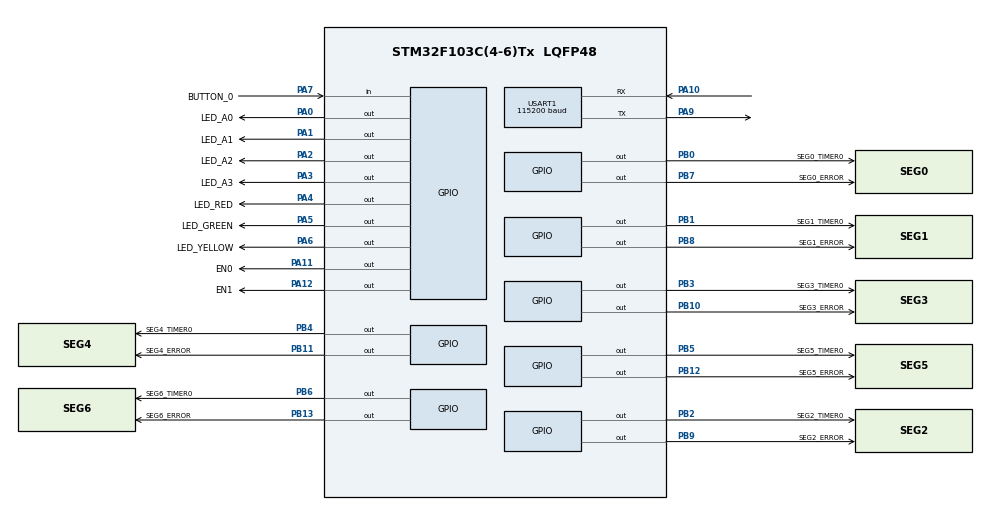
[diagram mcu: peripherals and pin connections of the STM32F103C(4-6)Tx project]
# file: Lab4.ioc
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Mcu.Family=STM32F1
Mcu.Name=STM32F103C(4-6)Tx
Mcu.Package=LQFP48
NVIC.PriorityGroup=NVIC_PRIORITYGROUP_4
NVIC.TIM2_IRQn=true\:0\:0\:false\:false\:true\:true\:true\:true
PA0-WKUP.GPIO_Label=LED_A0
PA0-WKUP.Signal=GPIO_Output
PA1.GPIO_Label=LED_A1
PA1.Signal=GPIO_Output
PA10.Mode=Asynchronous
PA10.Signal=USART1_RX
PA11.GPIO_Label=EN0
PA11.Signal=GPIO_Output
PA12.GPIO_Label=EN1
PA12.Signal=GPIO_Output
PA2.GPIO_Label=LED_A2
PA2.Signal=GPIO_Output
PA3.GPIO_Label=LED_A3
PA3.Signal=GPIO_Output
PA4.GPIO_Label=LED_RED
PA4.Signal=GPIO_Output
PA5.GPIO_Label=LED_GREEN
PA5.Signal=GPIO_Output
PA6.GPIO_Label=LED_YELLOW
PA6.Signal=GPIO_Output
PA7.GPIO_Label=BUTTON_0
PA7.GPIO_PuPd=GPIO_PULLUP
PA7.Signal=GPIO_Input
PA9.Mode=Asynchronous
PA9.Signal=USART1_TX
PB0.GPIO_Label=SEG0_TIMER0
PB0.Signal=GPIO_Output
PB1.GPIO_Label=SEG1_TIMER0
PB1.Signal=GPIO_Output
PB10.GPIO_Label=SEG3_ERROR
PB10.Signal=GPIO_Output
PB11.GPIO_Label=SEG4_ERROR
PB11.Signal=GPIO_Output
PB12.GPIO_Label=SEG5_ERROR
PB12.Signal=GPIO_Output
PB13.GPIO_Label=SEG6_ERROR
PB13.Signal=GPIO_Output
PB2.GPIO_Label=SEG2_TIMER0
PB2.Signal=GPIO_Output
PB3.GPIO_Label=SEG3_TIMER0
PB3.Signal=GPIO_Output
PB4.GPIO_Label=SEG4_TIMER0
PB4.Signal=GPIO_Output
PB5.GPIO_Label=SEG5_TIMER0
PB5.Signal=GPIO_Output
PB6.GPIO_Label=SEG6_TIMER0
PB6.Signal=GPIO_Output
PB7.GPIO_Label=SEG0_ERROR
PB7.Signal=GPIO_Output
PB8.GPIO_Label=SEG1_ERROR
PB8.Signal=GPIO_Output
PB9.GPIO_Label=SEG2_ERROR
PB9.Signal=GPIO_Output
ProjectManager.HeapSize=0x200
ProjectManager.StackSize=0x400
ProjectManager.TargetToolchain=STM32CubeIDE
RCC.APB1Freq_Value=8000000
RCC.APB2Freq_Value=8000000
TIM2.Period=9
TIM2.Prescaler=7999
USART1.BaudRate=115200
USART1.VirtualMode=VM_ASYNC
VP_SYS_VS_ND.Mode=No_Debug
VP_TIM2_VS_ClockSourceINT.Mode=Internal
board=custom

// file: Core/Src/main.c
/* USER CODE BEGIN Header */
/**
  ******************************************************************************
  * @file           : main.c
  * @brief          : Main program body
  ******************************************************************************
  * @attention
  *
  * Copyright (c) 2025 STMicroelectronics.
  * All rights reserved.
  *
  * This software is licensed under terms that can be found in the LICENSE file
  * in the root directory of this software component.
  * If no LICENSE file comes with this software, it is provided AS-IS.
  *
  ******************************************************************************
  */
/* USER CODE END Header */
#include "main.h"

/* USER CODE BEGIN Includes */
#include "sched.h"
#include "task.h"
#include "timer.h"
#include "input_reading.h"
#include "input_processing.h"
//#include "stm32f1xx_hal_iwdg.h"
//#define GET_TASK_TIME
//#define GET_CURRENT_TIME
/* USER CODE END Includes */

TIM_HandleTypeDef htim2;

UART_HandleTypeDef huart1;

void SystemClock_Config(void);
static void MX_GPIO_Init(void);
static void MX_TIM2_Init(void);
static void MX_USART1_UART_Init(void);

/* USER CODE BEGIN 0 */
UART_HandleTypeDef huart1;
int _write(int file, char *ptr, int len)
{
  /* Gửi dữ liệu qua UART1 */
  // HAL_MAX_DELAY nghĩa là hàm sẽ chờ cho đến khi gửi xong
  HAL_UART_Transmit(&huart1, (uint8_t *)ptr, len, HAL_MAX_DELAY);
  return len;
}
/* USER CODE END 0 */

int main(void)
{

  /* MCU Configuration--------------------------------------------------------*/

  /* Reset of all peripherals, Initializes the Flash interface and the Systick. */
  HAL_Init();

  /* Configure the system clock */
  SystemClock_Config();

  /* Initialize all configured peripherals */
  MX_GPIO_Init();
  MX_TIM2_Init();
  MX_USART1_UART_Init();
  /* USER CODE BEGIN 2 */
  /*Configure GPIO pin Output Level */
    HAL_GPIO_WritePin(GPIOA, LED_A0_Pin|LED_A1_Pin|LED_A2_Pin|LED_A3_Pin
                            |LED_RED_Pin|LED_GREEN_Pin|LED_YELLOW_Pin|EN0_Pin|EN1_Pin, GPIO_PIN_SET);

    /*Configure GPIO pin Output Level */
    HAL_GPIO_WritePin(GPIOB, SEG0_TIMER0_Pin|SEG1_TIMER0_Pin|SEG2_TIMER0_Pin|SEG3_ERROR_Pin
                            |SEG4_ERROR_Pin|SEG5_ERROR_Pin|SEG6_ERROR_Pin|SEG3_TIMER0_Pin
                            |SEG4_TIMER0_Pin|SEG5_TIMER0_Pin|SEG6_TIMER0_Pin|SEG0_ERROR_Pin
                            |SEG1_ERROR_Pin|SEG2_ERROR_Pin, GPIO_PIN_SET);
  HAL_TIM_Base_Start_IT(&htim2);

  SCH_Init();

  	SCH_Add_Task(LED_A0_BLINK, -1, 50);
  	SCH_Add_Task(LED_A1_BLINK, 50, 0);
  	SCH_Add_Task(LED_A2_BLINK, 1, -50);
  	SCH_Add_Task(LED_A3_BLINK, 1, 50);
  	SCH_Add_Task(LED_RED_BLINK, 1, 50);

//  	SCH_Add_Task(LED_A0_BLINK, 0, 50);
//	SCH_Add_Task(LED_A1_BLINK, 0, 50);
//	SCH_Add_Task(LED_A2_BLINK, 50, 0);
//	SCH_Add_Task(LED_A3_BLINK, 0, 50);
//	SCH_Add_Task(LED_RED_BLINK, 0, 50);

//  	SCH_Add_Task(button_reading, 0, 1);
//  	SCH_Add_Task(fsm_for_input_processing, 0, 1);

//
	SCH_Add_Task(updateSegBuffer, 0, 1);
	SCH_Add_Task(SCH_Report_Status, 0, 1);
//	SCH_Add_Task(display7Seg0, 0, 10); // button
//	SCH_Add_Task(display7Seg1, 0, 1); // traffic

	SCH_Add_Task(display7Seg2, 0, 10); // traffic + error

//    SCH_Add_Task(get_time, 0, 1);

  /* USER CODE END 2 */

  /* Infinite loop */
  while (1)
  {

    /* USER CODE BEGIN 3 */
	  SCH_Dispatch_Tasks();
  }
  /* USER CODE END 3 */
}

void SystemClock_Config(void)
{
  RCC_OscInitTypeDef RCC_OscInitStruct = {0};
  RCC_ClkInitTypeDef RCC_ClkInitStruct = {0};

  /** Initializes the RCC Oscillators according to the specified parameters
  * in the RCC_OscInitTypeDef structure.
  */
  RCC_OscInitStruct.OscillatorType = RCC_OSCILLATORTYPE_HSI;
  RCC_OscInitStruct.HSIState = RCC_HSI_ON;
  RCC_OscInitStruct.HSICalibrationValue = RCC_HSICALIBRATION_DEFAULT;
  RCC_OscInitStruct.PLL.PLLState = RCC_PLL_NONE;
  if (HAL_RCC_OscConfig(&RCC_OscInitStruct) != HAL_OK)
  {
    Error_Handler();
  }

  /** Initializes the CPU, AHB and APB buses clocks
  */
  RCC_ClkInitStruct.ClockType = RCC_CLOCKTYPE_HCLK|RCC_CLOCKTYPE_SYSCLK
                              |RCC_CLOCKTYPE_PCLK1|RCC_CLOCKTYPE_PCLK2;
  RCC_ClkInitStruct.SYSCLKSource = RCC_SYSCLKSOURCE_HSI;
  RCC_ClkInitStruct.AHBCLKDivider = RCC_SYSCLK_DIV1;
  RCC_ClkInitStruct.APB1CLKDivider = RCC_HCLK_DIV1;
  RCC_ClkInitStruct.APB2CLKDivider = RCC_HCLK_DIV1;

  if (HAL_RCC_ClockConfig(&RCC_ClkInitStruct, FLASH_LATENCY_0) != HAL_OK)
  {
    Error_Handler();
  }
}

static void MX_TIM2_Init(void)
{

  TIM_ClockConfigTypeDef sClockSourceConfig = {0};
  TIM_MasterConfigTypeDef sMasterConfig = {0};

  htim2.Instance = TIM2;
  htim2.Init.Prescaler = 7999;
  htim2.Init.CounterMode = TIM_COUNTERMODE_UP;
  htim2.Init.Period = 9;
  htim2.Init.ClockDivision = TIM_CLOCKDIVISION_DIV1;
  htim2.Init.AutoReloadPreload = TIM_AUTORELOAD_PRELOAD_DISABLE;
  if (HAL_TIM_Base_Init(&htim2) != HAL_OK)
  {
    Error_Handler();
  }
  sClockSourceConfig.ClockSource = TIM_CLOCKSOURCE_INTERNAL;
  if (HAL_TIM_ConfigClockSource(&htim2, &sClockSourceConfig) != HAL_OK)
  {
    Error_Handler();
  }
  sMasterConfig.MasterOutputTrigger = TIM_TRGO_RESET;
  sMasterConfig.MasterSlaveMode = TIM_MASTERSLAVEMODE_DISABLE;
  if (HAL_TIMEx_MasterConfigSynchronization(&htim2, &sMasterConfig) != HAL_OK)
  {
    Error_Handler();
  }

}

static void MX_USART1_UART_Init(void)
{

  huart1.Instance = USART1;
  huart1.Init.BaudRate = 115200;
  huart1.Init.WordLength = UART_WORDLENGTH_8B;
  huart1.Init.StopBits = UART_STOPBITS_1;
  huart1.Init.Parity = UART_PARITY_NONE;
  huart1.Init.Mode = UART_MODE_TX_RX;
  huart1.Init.HwFlowCtl = UART_HWCONTROL_NONE;
  huart1.Init.OverSampling = UART_OVERSAMPLING_16;
  if (HAL_UART_Init(&huart1) != HAL_OK)
  {
    Error_Handler();
  }

}

static void MX_GPIO_Init(void)
{
  GPIO_InitTypeDef GPIO_InitStruct = {0};

  /* GPIO Ports Clock Enable */
  __HAL_RCC_GPIOA_CLK_ENABLE();
  __HAL_RCC_GPIOB_CLK_ENABLE();

  /*Configure GPIO pin Output Level */
  HAL_GPIO_WritePin(GPIOA, LED_A0_Pin|LED_A1_Pin|LED_A2_Pin|LED_A3_Pin
                          |LED_RED_Pin|LED_GREEN_Pin|LED_YELLOW_Pin|EN0_Pin
                          |EN1_Pin, GPIO_PIN_RESET);

  /*Configure GPIO pin Output Level */
  HAL_GPIO_WritePin(GPIOB, SEG0_TIMER0_Pin|SEG1_TIMER0_Pin|SEG2_TIMER0_Pin|SEG3_ERROR_Pin
                          |SEG4_ERROR_Pin|SEG5_ERROR_Pin|SEG6_ERROR_Pin|SEG3_TIMER0_Pin
                          |SEG4_TIMER0_Pin|SEG5_TIMER0_Pin|SEG6_TIMER0_Pin|SEG0_ERROR_Pin
                          |SEG1_ERROR_Pin|SEG2_ERROR_Pin, GPIO_PIN_RESET);

  /*Configure GPIO pins : LED_A0_Pin LED_A1_Pin LED_A2_Pin LED_A3_Pin
                           LED_RED_Pin LED_GREEN_Pin LED_YELLOW_Pin EN0_Pin
                           EN1_Pin */
  GPIO_InitStruct.Pin = LED_A0_Pin|LED_A1_Pin|LED_A2_Pin|LED_A3_Pin
                          |LED_RED_Pin|LED_GREEN_Pin|LED_YELLOW_Pin|EN0_Pin
                          |EN1_Pin;
  GPIO_InitStruct.Mode = GPIO_MODE_OUTPUT_PP;
  GPIO_InitStruct.Pull = GPIO_NOPULL;
  GPIO_InitStruct.Speed = GPIO_SPEED_FREQ_LOW;
  HAL_GPIO_Init(GPIOA, &GPIO_InitStruct);

  /*Configure GPIO pin : BUTTON_0_Pin */
  GPIO_InitStruct.Pin = BUTTON_0_Pin;
  GPIO_InitStruct.Mode = GPIO_MODE_INPUT;
  GPIO_InitStruct.Pull = GPIO_PULLUP;
  HAL_GPIO_Init(BUTTON_0_GPIO_Port, &GPIO_InitStruct);

  /*Configure GPIO pins : SEG0_TIMER0_Pin SEG1_TIMER0_Pin SEG2_TIMER0_Pin SEG3_ERROR_Pin
                           SEG4_ERROR_Pin SEG5_ERROR_Pin SEG6_ERROR_Pin SEG3_TIMER0_Pin
                           SEG4_TIMER0_Pin SEG5_TIMER0_Pin SEG6_TIMER0_Pin SEG0_ERROR_Pin
                           SEG1_ERROR_Pin SEG2_ERROR_Pin */
  GPIO_InitStruct.Pin = SEG0_TIMER0_Pin|SEG1_TIMER0_Pin|SEG2_TIMER0_Pin|SEG3_ERROR_Pin
                          |SEG4_ERROR_Pin|SEG5_ERROR_Pin|SEG6_ERROR_Pin|SEG3_TIMER0_Pin
                          |SEG4_TIMER0_Pin|SEG5_TIMER0_Pin|SEG6_TIMER0_Pin|SEG0_ERROR_Pin
                          |SEG1_ERROR_Pin|SEG2_ERROR_Pin;
  GPIO_InitStruct.Mode = GPIO_MODE_OUTPUT_PP;
  GPIO_InitStruct.Pull = GPIO_NOPULL;
  GPIO_InitStruct.Speed = GPIO_SPEED_FREQ_LOW;
  HAL_GPIO_Init(GPIOB, &GPIO_InitStruct);

}

void Error_Handler(void)
{
  __disable_irq();
  while (1)
  {
  }
}
